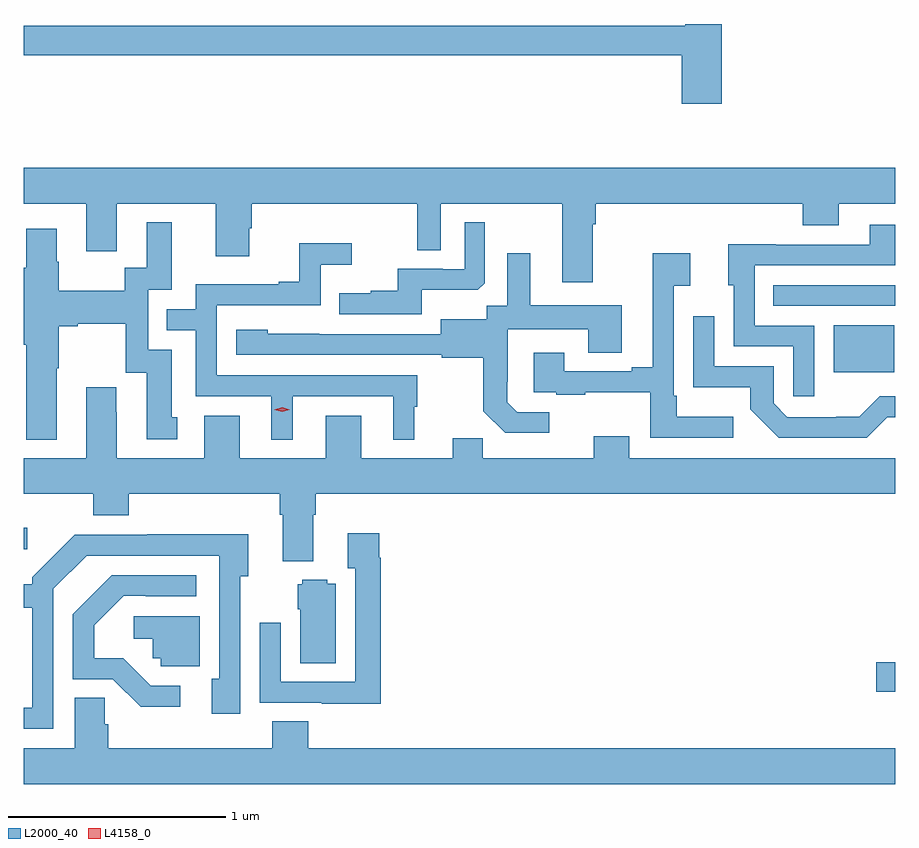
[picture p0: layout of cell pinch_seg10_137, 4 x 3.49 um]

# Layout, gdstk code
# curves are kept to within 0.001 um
import gdstk
lib = gdstk.Library(unit=1e-6, precision=1e-09)
def R(c, l, rs):  # rectangles x0, y0, x1, y1
    for r in rs: c.add(gdstk.rectangle(r[:2], r[2:], *l))
def P(c, l, *ps):  # polygons
    for p in ps: c.add(gdstk.Polygon(p, *l))
L2000_40 = (2000, 40)
L4158_0 = (4158, 0)

pinch_seg10_137 = lib.new_cell('pinch_seg10_137')
R(pinch_seg10_137, L2000_40, [(698.358,1275.431,698.445,1275.566), (694.445,1276.085,694.462,1276.183), (698.162,1276.898,698.44,1277.113), (697.885,1277.202,698.445,1277.298)])
P(pinch_seg10_137, L2000_40, [(697.649,1278.496),(697.482,1278.496),(697.482,1278.488),(694.445,1278.488),(694.445,1278.352),(697.466,1278.352),(697.466,1278.129),(697.649,1278.129)],
  [(697.057,1277.576),(697.07,1277.576),(697.07,1277.672),(698.021,1277.672),(698.021,1277.573),(698.185,1277.573),(698.185,1277.672),(698.445,1277.672),(698.445,1277.836),(694.445,1277.836),(694.445,1277.672),(694.733,1277.672),(694.733,1277.454),(694.873,1277.454),(694.873,1277.672),(695.327,1277.672),(695.327,1277.43),(695.479,1277.43),(695.479,1277.559),(695.492,1277.559),(695.492,1277.672),(696.252,1277.672),(696.252,1277.458),(696.36,1277.458),(696.36,1277.672),(696.917,1277.672),(696.917,1277.31),(697.057,1277.31)],
  [(696.271,1277.276),(696.529,1277.276),(696.561,1277.307),(696.561,1277.587),(696.468,1277.587),(696.468,1277.37),(696.368,1277.37),(696.368,1277.373),(696.161,1277.373),(696.161,1277.272),(696.037,1277.272),(696.037,1277.26),(695.893,1277.26),(695.893,1277.163),(696.271,1277.163)],
  [(694.597,1276.915),(694.605,1276.915),(694.605,1277.108),(694.693,1277.108),(694.693,1277.12),(694.913,1277.12),(694.913,1276.896),(695.009,1276.896),(695.009,1276.59),(695.149,1276.59),(695.149,1276.692),(695.125,1276.692),(695.125,1277.001),(695.016,1277.001),(695.016,1277.277),(695.125,1277.277),(695.125,1277.587),(695.009,1277.587),(695.009,1277.378),(694.908,1277.378),(694.908,1277.272),(694.605,1277.272),(694.605,1277.406),(694.597,1277.406),(694.597,1277.557),(694.457,1277.557),(694.457,1277.378),(694.445,1277.378),(694.445,1277.024),(694.457,1277.024),(694.457,1276.589),(694.597,1276.589)],
  [(698.073,1277.112),(697.8,1277.112),(697.8,1277.388),(698.445,1277.388),(698.445,1277.575),(698.327,1277.575),(698.327,1277.484),(697.897,1277.484),(697.897,1277.486),(697.679,1277.486),(697.679,1277.298),(697.704,1277.298),(697.704,1277.016),(697.977,1277.016),(697.977,1276.788),(698.073,1276.788)],
  [(695.68,1276.788),(696.14,1276.788),(696.14,1276.589),(696.238,1276.589),(696.238,1276.74),(696.25,1276.74),(696.25,1276.884),(695.331,1276.884),(695.331,1277.205),(695.808,1277.205),(695.808,1277.39),(695.95,1277.39),(695.95,1277.489),(695.71,1277.489),(695.71,1277.314),(695.615,1277.314),(695.615,1277.301),(695.235,1277.301),(695.235,1277.187),(695.101,1277.187),(695.101,1277.091),(695.235,1277.091),(695.235,1276.788),(695.582,1276.788),(695.582,1276.589),(695.68,1276.589)],
  [(696.856,1276.713),(696.711,1276.713),(696.664,1276.76),(696.664,1276.855),(696.666,1276.855),(696.666,1277.096),(697.037,1277.096),(697.037,1276.987),(697.189,1276.987),(697.189,1277.206),(696.769,1277.206),(696.769,1277.443),(696.665,1277.443),(696.665,1277.204),(696.57,1277.204),(696.57,1277.14),(696.359,1277.14),(696.359,1277.073),(695.565,1277.074),(695.565,1277.092),(695.421,1277.092),(695.421,1276.977),(696.363,1276.977),(696.363,1276.965),(696.555,1276.965),(696.555,1276.719),(696.655,1276.619),(696.856,1276.619)],
  [(697.702,1276.693),(697.441,1276.693),(697.441,1276.789),(697.428,1276.789),(697.428,1277.294),(697.504,1277.294),(697.504,1277.443),(697.331,1277.443),(697.331,1276.921),(697.235,1276.921),(697.235,1276.902),(696.925,1276.902),(696.925,1276.987),(696.785,1276.987),(696.785,1276.806),(696.889,1276.806),(696.889,1276.794),(697.021,1276.794),(697.021,1276.805),(697.32,1276.805),(697.32,1276.596),(697.702,1276.596)],
  [(698.408,1276.691),(698.445,1276.691),(698.445,1276.788),(698.373,1276.788),(698.279,1276.694),(698.174,1276.694),(698.174,1276.692),(697.95,1276.692),(697.887,1276.755),(697.887,1276.926),(697.614,1276.926),(697.614,1277.155),(697.518,1277.155),(697.518,1276.829),(697.78,1276.829),(697.78,1276.727),(697.91,1276.596),(698.313,1276.596)],
  [(695.437,1276.699),(695.273,1276.699),(695.273,1276.504),(694.873,1276.504),(694.873,1276.715),(694.87,1276.715),(694.87,1276.828),(694.733,1276.828),(694.733,1276.504),(694.445,1276.504),(694.445,1276.34),(694.763,1276.34),(694.763,1276.241),(694.928,1276.241),(694.928,1276.34),(695.621,1276.34),(695.621,1276.244),(695.633,1276.244),(695.633,1276.031),(695.773,1276.031),(695.773,1276.244),(695.786,1276.244),(695.786,1276.34),(698.445,1276.34),(698.445,1276.504),(697.225,1276.504),(697.225,1276.603),(697.061,1276.603),(697.061,1276.504),(696.551,1276.504),(696.551,1276.595),(696.413,1276.595),(696.413,1276.504),(695.995,1276.504),(695.995,1276.699),(695.831,1276.699),(695.831,1276.504),(695.437,1276.504)],
  [(696.083,1276.046),(696.076,1276.046),(696.076,1276.159),(695.933,1276.159),(695.933,1275.998),(695.967,1275.998),(695.967,1275.477),(695.625,1275.477),(695.625,1275.748),(695.529,1275.748),(695.529,1275.381),(695.813,1275.381),(695.813,1275.377),(696.083,1275.377)],
  [(694.581,1275.903),(694.734,1276.056),(695.343,1276.056),(695.343,1275.49),(695.309,1275.49),(695.309,1275.33),(695.439,1275.33),(695.439,1275.962),(695.476,1275.962),(695.476,1276.154),(695.011,1276.154),(695.011,1276.152),(694.68,1276.152),(694.485,1275.957),(694.485,1275.925),(694.445,1275.925),(694.445,1275.816),(694.484,1275.816),(694.484,1275.357),(694.445,1275.357),(694.445,1275.261),(694.581,1275.261)],
  [(695.164,1275.459),(695.028,1275.459),(694.901,1275.586),(694.768,1275.586),(694.768,1275.736),(694.905,1275.873),(695.005,1275.873),(695.005,1275.87),(695.236,1275.87),(695.236,1275.966),(694.85,1275.966),(694.671,1275.787),(694.671,1275.489),(694.854,1275.489),(694.982,1275.362),(695.164,1275.362)],
  [(695.878,1275.928),(695.838,1275.928),(695.838,1275.946),(695.724,1275.946),(695.724,1275.924),(695.702,1275.924),(695.702,1275.81),(695.714,1275.81),(695.714,1275.562),(695.878,1275.562)],
  [(695.254,1275.777),(694.95,1275.777),(694.95,1275.674),(695.037,1275.674),(695.037,1275.585),(695.073,1275.585),(695.073,1275.549),(695.254,1275.549)],
  [(698.445,1275.172),(695.75,1275.172),(695.75,1275.296),(695.585,1275.296),(695.585,1275.172),(694.832,1275.172),(694.832,1275.282),(694.817,1275.282),(694.817,1275.404),(694.679,1275.404),(694.679,1275.172),(694.445,1275.172),(694.445,1275.008),(698.445,1275.008)])
P(pinch_seg10_137, L4158_0, [(695.631,1276.716),(695.595,1276.725),(695.595,1276.726),(695.595,1276.726),(695.631,1276.736),(695.667,1276.726),(695.667,1276.726),(695.667,1276.725)])

lib.write_gds('pinch_seg10_137.gds')
